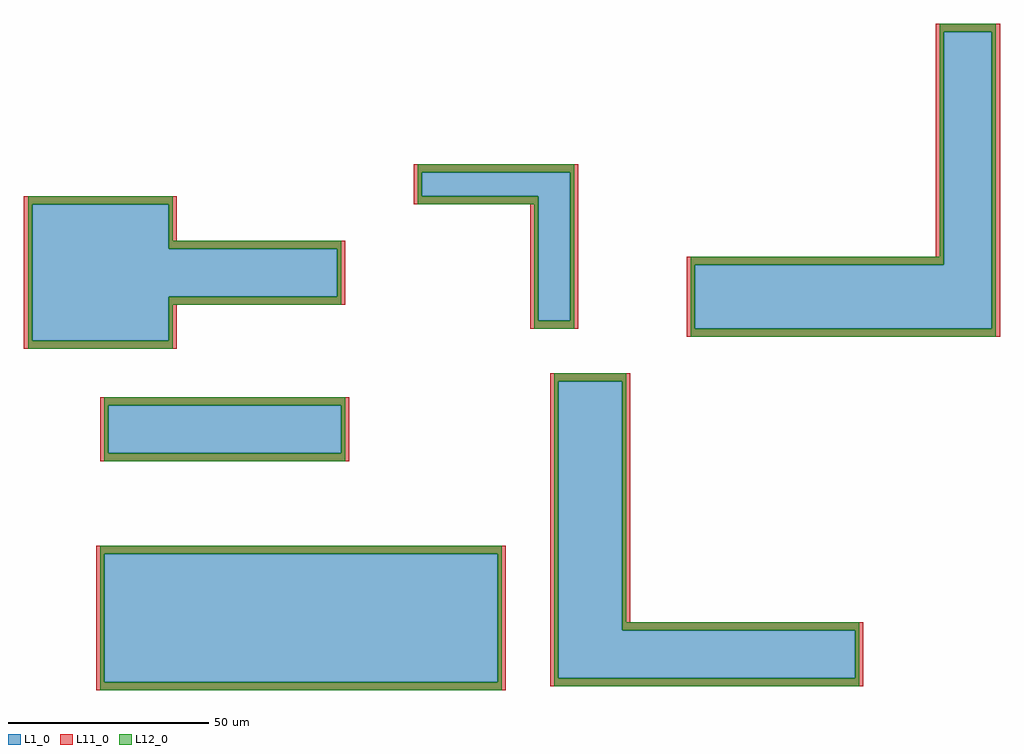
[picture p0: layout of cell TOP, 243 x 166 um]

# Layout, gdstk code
from math import pi, radians
import gdstk
lib = gdstk.Library(unit=1e-6, precision=1e-09)
def R(c, l, rs):  # rectangles x0, y0, x1, y1
    for r in rs: c.add(gdstk.rectangle(r[:2], r[2:], *l))
L1_0 = (1, 0)
L11_0 = (11, 0)
L12_0 = (12, 0)

c_a = lib.new_cell('A')
R(c_a, L1_0, [(0,-12,58,0)])

c_b = lib.new_cell('B')
R(c_b, L1_0, [(12,-17,20,20), (-17,14,20,20)])
R(c_b, L11_0, [(10,-19,12,12), (12,-19,22,-17), (20,-17,22,12), (-19,12,-17,20), (-17,12,12,14), (20,12,22,22), (-19,20,20,22)])
R(c_b, L12_0, [(11,-19,21,-17), (11,-17,12,12), (20,-17,21,12), (-18,12,-17,20), (-17,12,12,14), (20,12,21,22), (-18,20,20,22)])

b_var1_var1 = lib.new_cell('B$VAR1$VAR1')
R(b_var1_var1, L1_0, [(12,-17,20,20), (-17,14,20,20)])
R(b_var1_var1, L11_0, [(11,-18,21,-17), (11,-17,12,13), (20,-17,21,13), (-18,13,-17,20), (-17,13,12,14), (20,13,21,21), (-18,20,20,21)])
R(b_var1_var1, L12_0, [(11,-17.5,21,-17), (11,-17,12,13.5), (20,-17,21,13.5), (-18,13.5,-17,20), (-17,13.5,12,14), (20,13.5,21,20.5), (-18,20,20,20.5)])

c_c = lib.new_cell('C')
c_c.add(gdstk.Reference(b_var1_var1, (14,28), rotation=pi))

b_var1 = lib.new_cell('B$VAR1')
R(b_var1, L1_0, [(12,-17,20,20), (-17,14,20,20)])
R(b_var1, L11_0, [(11,-18,21,-17), (11,-17,12,13), (20,-17,21,13), (-18,13,-17,20), (-17,13,12,14), (20,13,21,21), (-18,20,20,21)])
R(b_var1, L12_0, [(11.5,-18,20.5,-17), (11.5,-17,12,13), (20,-17,20.5,13), (-17.5,13,-17,20), (-17,13,12,14), (20,13,20.5,21), (-17.5,20,20,21)])

top = lib.new_cell('TOP')
R(top, L1_0, [(-11,-15,23,19)])
R(top, L11_0, [(5,-102,7,-68), (7,-102,107,-100), (105,-100,107,-68), (5,-68,107,-66), (6,-45,8,-31), (8,-45,66,-43), (66,-45,68,-29), (6,-31,8,-29), (8,-31,66,-29), (-13,-17,-11,19), (-11,-17,25,-15), (23,-15,25,-4), (25,-6,67,-4), (65,-4,67,8), (23,8,25,19), (25,8,67,10), (-13,19,25,21)])
R(top, L12_0, [(6,-102,7,-68), (7,-102,106,-100), (105,-100,106,-68), (6,-68,106,-66), (7,-45,8,-31), (8,-45,66,-43), (66,-45,67,-29), (7,-31,8,-29), (8,-31,66,-29), (-12,-17,-11,19), (-11,-17,24,-15), (23,-15,24,-4), (24,-6,66,-4), (65,-4,66,8), (23,8,24,19), (24,8,66,10), (-12,19,24,21)])
top.add(gdstk.Reference(c_a, (7,8)))
top.add(gdstk.Reference(c_a, (8,-31)))
r = gdstk.Reference(c_a, (7,-88)); r.repetition = gdstk.Repetition(2, 5, v1=(40,0), v2=(0,5)); top.add(r)
top.add(gdstk.Reference(c_b, (103,7)))
top.add(gdstk.Reference(c_c, (244,0), rotation=pi/2, magnification=2))
top.add(gdstk.Reference(b_var1, (160,-59), rotation=pi, magnification=2))

lib.write_gds('TOP.gds')
